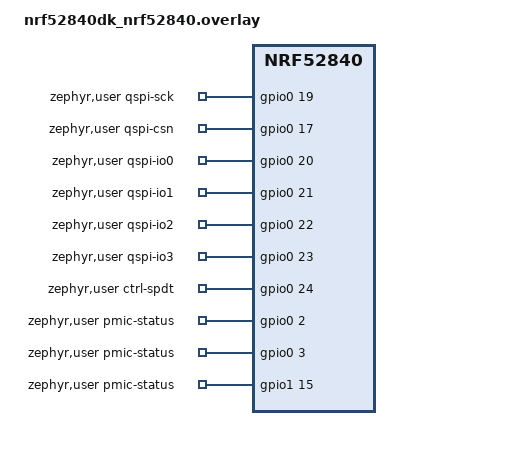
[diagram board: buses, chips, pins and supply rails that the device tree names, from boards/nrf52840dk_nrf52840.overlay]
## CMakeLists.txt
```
cmake_minimum_required(VERSION 3.20)

# for global installs
find_package(Zephyr REQUIRED HINTS $ENV{ZEPHYR_BASE})

# populates the $PROJECT_NAME var and this is what the output files are named
project(capstone)

# app is a predesignated target that zephyr uses
target_sources(app PRIVATE
    src/main.c
    src/qspi_pattern.c
    src/hfxo.c
    src/ble_adv.c
    src/modulator.c
    src/rf_switch.c
    src/switch_ctrl.c
    src/pmic.c
)

target_include_directories(app PRIVATE ${CMAKE_CURRENT_SOURCE_DIR}/src)
```

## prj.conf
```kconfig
# --- Console / logging -------------------------------------------------------
CONFIG_SERIAL=y
CONFIG_CONSOLE=y
CONFIG_UART_CONSOLE=y
CONFIG_LOG=y
# Immediate mode: if a QSPI activation hangs we still want the preceding lines
# out of the UART rather than stuck in a deferred log buffer.
CONFIG_LOG_MODE_IMMEDIATE=y

# --- nrfx drivers driven directly by the application -------------------------
CONFIG_NRFX_QSPI=y

# Keep this on: sensors, SPI cs-gpios, LEDs and GPIO interrupts all need it.
CONFIG_GPIO=y

# QSPI is clocked from HFCLK128M, which is only available with the 32 MHz
# crystal running. qspi_pattern_init() requests it explicitly.
CONFIG_CLOCK_CONTROL=y

CONFIG_MAX30101=y
```

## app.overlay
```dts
&i2c0 {
    status = "okay";

    max30101: max30101@57 {
        compatible = "maxim,max30101";
        reg = <0x57>;
        /* Recent Zephyr versions also require a mode property,
           plus optional LED/slot/sample-rate settings. See step 4. */
    };
};
```

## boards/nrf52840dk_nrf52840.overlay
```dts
/*
 * nRF52840dk overlay for QSPI
 *
 *  QSPI is taken away from Zephyr and given to the application.
 *     Disabling the node removes both the nordic,qspi-nor flash driver and
 *     the mx25r64 child, so nrfx_qspi can own the peripheral outright. The
 *     pins are selected at runtime (see src/qspi_pattern.c) from the
 *     zephyr,user node below.
 *			on the dev kit these are the onboard MX25R6435F's pins, so each
 *			burst also reaches that flash unless it is cut off the bus
 *
 *     CONFIG_NRFX_QSPI only depends on the node *existing*, not on it being
 *     enabled, so disabling it here does not disable the nrfx driver.
 */

/*
 * RF switch pin map, read by src/board_pins.h. These are the wearable PCB's
 * dedicated QSPI pins; the DK is wired the same way.
 *
 * QSPI needs CSN, IO0 and IO1 assigned even though nothing listens to them:
 * CSN and IO0 are driven during every burst, and IO1 is read during
 * activation (see qspi_idle_pulldown_apply()). They are unconnected on the
 * PCB.
 *
 *   P0.19   QSPI SCK   (QSPI_CLK, test point only)
 *   P0.17   QSPI CSN   (unconnected)
 *   P0.20   QSPI IO0   (unconnected)
 *   P0.21   QSPI IO1   (unconnected)
 *   P0.22   QSPI IO2 = Mod_Sel0
 *   P0.23   QSPI IO3 = Mod_Sel1
 *   P0.24   CTRL_SPDT  (high drive, set in rf_switch.c)
 */
/ {
	zephyr,user {
		qspi-sck-gpios = <&gpio0 19 0>;
		qspi-csn-gpios = <&gpio0 17 0>;
		qspi-io0-gpios = <&gpio0 20 0>;
		qspi-io1-gpios = <&gpio0 21 0>;
		qspi-io2-gpios = <&gpio0 22 0>;
		qspi-io3-gpios = <&gpio0 23 0>;
		ctrl-spdt-gpios = <&gpio0 24 0>;

		// AEM30940 STATUS[0], [1], [2], read by src/pmic.c
		pmic-status-gpios = <&gpio0 2 GPIO_ACTIVE_HIGH>,
				    <&gpio0 3 GPIO_ACTIVE_HIGH>,
				    <&gpio1 15 GPIO_ACTIVE_HIGH>;
	};
};

// disable this so I can drive the code directly through nrfx_qspi. sorry Zephyr...
&qspi {
	status = "disabled";
};


// &spi20 {
//     status = "okay";                                  /* Enable the SPI20 peripheral */
//     pinctrl-0 = <&spi20_default>;                      /* Required: default pin config */
//     pinctrl-names = "default";                         /* Only "default" needed if no sleep state */
//     cs-gpios = <&gpio2 5 GPIO_ACTIVE_LOW>;              /* Chip-select via GPIO2 pin 5, active-low */

//     sensor0: sensor@0 {
//         compatible = "vnd,spi-device";                 /* Binds node to a Zephyr driver binding */
//         reg = <0>;                                     /* Chip-select index 0 on this bus */
//         spi-max-frequency = <4000000>;                  /* Cap SPI clock at 4 MHz for this device */
//         label = "SENSOR0";                              /* Runtime name via device_get_binding() */
//     };
// };

/*
 * A child node does not inherit its parent's disabled status, so the flash
 * node has to be turned off by hand. Without this,
 * CONFIG_DT_HAS_NORDIC_QSPI_NOR_ENABLED stays set and simply enabling
 * CONFIG_FLASH later would silently instantiate a driver that fights us for
 * the peripheral
 */
&mx25r64 {
	status = "disabled";
};


// use the nRF52840's internal 32 kHz RC oscillator instead of the external 32.768 kHz crystal
// on newer Zephyr this is set in devicetree, not with CONFIG_CLOCK_CONTROL_NRF_K32SRC_RC
// (500 ppm accuracy is what the binding recommends for RC on nRF52)
&lfclk {
    k32src = "rc";
    k32src-accuracy-ppm = <500>;
};
```

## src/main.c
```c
/*
 * Capstone framework: nRF52840 DK
 *
 * QSPI driven directly by nrfx as a 4-bit-wide pattern generator at the
 * fastest clock the chip has (SCK up to 32 MHz off HFCLK128M), fed with
 * SP4T switch codes from the modulator. The SPDT keeps the antenna on the
 * rectifier except for the duration of each burst.
 *
 * Boots in harvest. Use the shell ("sw" + Tab) to hold
 * a reflect load, run the scope test pattern, or send a real advertising
 * packet; see switch_ctrl.h.
 */

#include <zephyr/kernel.h>
#include <zephyr/logging/log.h>

#include "pmic.h"
#include "switch_ctrl.h"

LOG_MODULE_REGISTER(main, LOG_LEVEL_INF);

/* 10 ms between bursts keeps the scope easy to trigger, and is an ordinary
 * advertising interval for a phone to pick up.
 */
#define BURST_PERIOD_MS 10U

int main(void)
{
	int err;

	err = pmic_init();
	if (err != 0) {
		LOG_ERR("pmic_init failed (%d)", err);
	}

	err = switch_ctrl_init();
	if (err != 0) {
		LOG_ERR("switch_ctrl_init failed (%d)", err);
		return err;
	}

	LOG_INF("SPDT on harvest; \"sw test\" or \"sw adv\" starts bursts "
		"every %u ms", BURST_PERIOD_MS);

	while (true) {
		// -EAGAIN just means a static state is being held
		err = switch_ctrl_burst();
		if (err != 0 && err != -EAGAIN) {
			LOG_ERR("burst failed (%d); back to harvest", err);
			switch_ctrl_harvest();
		}

		k_msleep(BURST_PERIOD_MS);
	}

	return 0;
}
```

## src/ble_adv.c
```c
#include "ble_adv.h"

#include <errno.h>
#include <string.h>

// Fixed access address for all advertising packets
#define ADV_ACCESS_ADDRESS 0x8E89BED6U

// Alternating 0101... whose first bit matches the access address LSB (0)
#define ADV_PREAMBLE 0xAAU

// PDU header byte 0: PDU type ADV_NONCONN_IND (0b0010), TxAdd = 1 (random)
#define ADV_PDU_TYPE_NONCONN_IND 0x02U
#define ADV_PDU_TXADD_RANDOM 0x40U

// The CRC register starts at 0x555555 for every advertising packet
#define ADV_CRC_INIT 0x555555U

/*
 * CRC-24, polynomial x^24 + x^10 + x^9 + x^6 + x^4 + x^3 + x + 1 (0x00065B).
 *
 * Data is fed in air order (LSB of each byte first), so the register is kept
 * bit-reversed: bit 0 here is the spec's position 23. That makes the result
 * come out ready to send LSB first which puts the spec's MSB on air first.
 */
static uint32_t crc24(const uint8_t *data, size_t len)
{
	// 0x555555 is 0xAAAAAA reversed (written this way to match the spec)
	uint32_t state = 0;

	for (unsigned int i = 0; i < 24U; i++) {
		if (ADV_CRC_INIT & (1U << i)) {
			state |= 1U << (23U - i);
		}
	}

	for (size_t i = 0; i < len; i++) {
		uint8_t byte = data[i];

		for (unsigned int j = 0; j < 8U; j++) {
			unsigned int fb = (state ^ byte) & 1U;

			byte >>= 1;
			state >>= 1;
			if (fb) {
				state ^= 0xDA6000U;
			}
		}
	}

	return state;
}

/*
 * Data whitening, polynomial x^7 + x^4 + 1. The spec seeds position 0 with 1
 * and positions 1..6 with the channel index, MSB at position 1. Here bit 6
 * is position 0 and bit 0 is position 6 (the output tap), so the seed is just
 * the channel index with bit 6 set.
 */
static void whiten(uint8_t *data, size_t len, uint8_t channel)
{
	uint8_t lfsr = (uint8_t)(channel | 0x40U);

	for (size_t i = 0; i < len; i++) {
		for (uint8_t m = 1U; m != 0U; m <<= 1) {
			if (lfsr & 0x01U) {
				lfsr ^= 0x88U;
				data[i] ^= m;
			}
			lfsr >>= 1;
		}
	}
}

int ble_adv_build(const uint8_t adv_addr[BLE_ADDR_LEN],
		  const uint8_t *adv_data, size_t adv_data_len,
		  uint8_t channel, uint8_t *out, size_t out_size)
{
	size_t pdu_len = 2U + BLE_ADDR_LEN + adv_data_len;
	size_t total = 1U + 4U + pdu_len + 3U;
	uint8_t *pdu = &out[5];
	uint32_t crc;
	size_t n = 0;

	if (channel < BLE_ADV_CHANNEL_37 || channel > BLE_ADV_CHANNEL_39 ||
	    adv_data_len > BLE_ADV_DATA_MAX ||
	    (adv_data_len > 0U && adv_data == NULL) || out_size < total) {
		return -EINVAL;
	}

	out[n++] = ADV_PREAMBLE;

	// Access address goes out least significant byte first
	for (unsigned int i = 0; i < 4U; i++) {
		out[n++] = (uint8_t)(ADV_ACCESS_ADDRESS >> (8U * i));
	}

	out[n++] = ADV_PDU_TYPE_NONCONN_IND | ADV_PDU_TXADD_RANDOM;
	out[n++] = (uint8_t)(BLE_ADDR_LEN + adv_data_len);

	memcpy(&out[n], adv_addr, BLE_ADDR_LEN);
	n += BLE_ADDR_LEN;

	if (adv_data_len > 0U) {
		memcpy(&out[n], adv_data, adv_data_len);
		n += adv_data_len;
	}

	crc = crc24(pdu, pdu_len);
	out[n++] = (uint8_t)crc;
	out[n++] = (uint8_t)(crc >> 8);
	out[n++] = (uint8_t)(crc >> 16);

	// Whitening covers the PDU and CRC, not the preamble or access address
	whiten(pdu, pdu_len + 3U, channel);

	return (int)n;
}

int ble_adv_hr_data(uint8_t bpm, uint8_t *out, size_t out_size)
{
	static const uint8_t name[] = { 'C', 'A', 'P', 'S', 'T', 'O' };
	size_t n = 0;

	if (out_size < 3U + (2U + sizeof(name)) + 6U) {
		return -EINVAL;
	}

	// Flags: LE General Discoverable, BR/EDR not supported
	out[n++] = 0x02;
	out[n++] = 0x01;
	out[n++] = 0x06;

	// Local Name
	out[n++] = (uint8_t)(1U + sizeof(name));
	out[n++] = 0x09;
	memcpy(&out[n], name, sizeof(name));
	n += sizeof(name);

	// Service Data, 16-bit UUID 0x180D (Heart Rate) little-endian
	out[n++] = 0x05;
	out[n++] = 0x16;
	out[n++] = 0x0D;
	out[n++] = 0x18;
	out[n++] = 0x00; // Heart Rate Measurement flags: uint8 BPM follows
	out[n++] = bpm;

	return (int)n;
}
```

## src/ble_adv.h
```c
/*
 * BLE advertising packet builder (LE 1M, legacy advertising).
 *
 * Produces the exact byte stream that goes on air
 * (ready for modulator.c)
 *
 *   preamble | access address | PDU header | AdvA | AdvData | CRC
 *     1 B          4 B             2 B        6 B   0-31 B    3 B
 *                            '---------- whitened ---------------'
 *
 * Bytes are in transmit order and each byte goes out LSB first
 * (Spec required)
 *
 * The PDU is ADV_NONCONN_IND: broadcast only, so the tag never has to
 * receive anything (because we can't receive anything on our pcb)
 *
 * no Zephyr dependencies in this file
 */

#ifndef BLE_ADV_H_
#define BLE_ADV_H_

#include <stddef.h>
#include <stdint.h>

// Advertising channel index so we can test multiple 
#define BLE_ADV_CHANNEL_37 37U // 2402 MHz
#define BLE_ADV_CHANNEL_38 38U // 2426 MHz
#define BLE_ADV_CHANNEL_39 39U // 2480 MHz

// Longest AdvData a legacy advertising PDU can carry 
// Legacy advertising = broadcaster can announce presence and send data
#define BLE_ADV_DATA_MAX 31U

// Preamble + access address + header + AdvA + max AdvData + CRC
#define BLE_ADV_PACKET_MAX (1U + 4U + 2U + 6U + BLE_ADV_DATA_MAX + 3U)

// Bytes in a BLE device address
#define BLE_ADDR_LEN 6U

/**
 * Build a whitened ADV_NONCONN_IND packet
 *
 * @param adv_addr     Advertiser address, least significant byte first
 *                     (the order it goes on air). Treated as a random
 *                     address, so a static one needs the top two bits of
 *                     adv_addr[5] set.
 * @param adv_data     AD structures (length, type, data...), or NULL if
 *                     @p adv_data_len is 0.
 * @param adv_data_len 0..BLE_ADV_DATA_MAX bytes.
 * @param channel      Advertising channel index the packet will be received
 *                     on (37, 38 or 39). Whitening depends on it, so a packet
 *                     built for one channel will not decode on another.
 * @param out          Output buffer.
 * @param out_size     Size of @p out; BLE_ADV_PACKET_MAX always suffices.
 *
 * @return Packet length in bytes (multiply by 8 for modulator_build()), or
 *         -EINVAL for a bad channel, oversized AdvData or a short buffer.
 */
int ble_adv_build(const uint8_t adv_addr[BLE_ADDR_LEN],
		  const uint8_t *adv_data, size_t adv_data_len,
		  uint8_t channel, uint8_t *out, size_t out_size);

/**
 * Fill in the AdvData for a heart-rate reading:
 *
 *   Flags                 02 01 06
 *   Complete Local Name   07 09 'B' 'E' 'A' 'C' 'O' 'N'
 *   Service Data (0x180D) 05 16 0D 18 00 <bpm>
 *
 * The service data payload follows the Heart Rate Measurement layout (a flags
 * byte of 0x00, meaning a uint8 BPM follows), so it reads naturally in tools
 * like nRF Connect. The name makes the tag easy to spot in a scan list.
 *
 * @return Number of AdvData bytes written, or -EINVAL if @p out_size is too
 *         small.
 */
int ble_adv_hr_data(uint8_t bpm, uint8_t *out, size_t out_size);

#endif /* BLE_ADV_H_ */
```

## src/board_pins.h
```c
/*
 * Pin map for the RF switch path.
 *
 * The QSPI block drives the SP4T (Mod_Sel0/1 on IO2/IO3) and a GPIO drives
 * the SPDT that chooses between the rectifier and the SP4T. The pins come
 * from the zephyr,user node in the board overlay
 * (boards/nrf52840dk_nrf52840.overlay); see the pin table there.
 */

#ifndef BOARD_PINS_H_
#define BOARD_PINS_H_

#include <zephyr/devicetree.h>
#include <soc_nrf_common.h>
#include <hal/nrf_gpio.h>

#define BOARD_PINS_NODE DT_PATH(zephyr_user)

#define PIN_QSPI_SCK NRF_DT_GPIOS_TO_PSEL(BOARD_PINS_NODE, qspi_sck_gpios)
#define PIN_QSPI_CSN NRF_DT_GPIOS_TO_PSEL(BOARD_PINS_NODE, qspi_csn_gpios)
#define PIN_QSPI_IO0 NRF_DT_GPIOS_TO_PSEL(BOARD_PINS_NODE, qspi_io0_gpios)
#define PIN_QSPI_IO1 NRF_DT_GPIOS_TO_PSEL(BOARD_PINS_NODE, qspi_io1_gpios)
#define PIN_QSPI_IO2 NRF_DT_GPIOS_TO_PSEL(BOARD_PINS_NODE, qspi_io2_gpios)
#define PIN_QSPI_IO3 NRF_DT_GPIOS_TO_PSEL(BOARD_PINS_NODE, qspi_io3_gpios)
#define PIN_CTRL_SPDT NRF_DT_GPIOS_TO_PSEL(BOARD_PINS_NODE, ctrl_spdt_gpios)

/*
 * CTRL_SPDT level that connects the antenna to the rectifier.
 *
 * PROVISIONAL: confirm with the EEs. Low is the safer guess either way,
 * since an unpowered or reset MCU leaves the pin low.
 */
#define SPDT_HARVEST_LEVEL 0U

#endif /* BOARD_PINS_H_ */
```

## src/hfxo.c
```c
#include "hfxo.h"

#include <zephyr/kernel.h>
#include <zephyr/device.h>
#include <zephyr/logging/log.h>
#include <zephyr/drivers/clock_control.h>

LOG_MODULE_REGISTER(hfxo, LOG_LEVEL_INF);

int hfxo_request(void)
{
	/* Each clock is its own clock-control device in current Zephyr. The
	 * older CLOCK_CONTROL_NRF_SUBSYS_HF enumerator on the parent "clock"
	 * node is deprecated and not compiled in on this tree.
	 */
	const struct device *clk = DEVICE_DT_GET(DT_NODELABEL(hfclk));
	int err;

	if (!device_is_ready(clk)) {
		LOG_ERR("hfclk device not ready");
		return -ENODEV;
	}

	/* clock_control_on() resolves to common_api_blocking_start() for this
	 * driver, so it returns only once the crystal has actually started.
	 */
	err = clock_control_on(clk, NULL);
	if (err == -EALREADY || err == -EINPROGRESS) {
		return 0;
	}

	if (err != 0) {
		LOG_ERR("HFXO request failed (%d)", err);
		return err;
	}

	LOG_INF("HFXO running; HFCLK is now crystal-accurate");

	return 0;
}
```

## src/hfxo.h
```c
/*
 * HFCLK source control.
 *
 * On reset the nRF52840 runs HFCLK from HFINT, an internal RC oscillator
 * accurate to only a few percent. Everything clocked from HFCLK inherits that
 * error -- TIMER's 16 MHz base, UARTE's baud rate.
 *
 * Nothing starts the 32 MHz crystal on its own here: Zephyr's system clock
 * runs off LFCLK/RTC, and no driver in this application sets
 * CONFIG_UART_NRFX_UARTE_HFXO_ON_ACTIVE. So any module whose *output
 * frequency* matters has to ask for the crystal itself.
 *
 * Requests are reference counted, so every such module should call this
 * rather than assume some other module already did.
 */

#ifndef HFXO_H_
#define HFXO_H_

/**
 * Start the 32 MHz crystal oscillator, or join an existing request, and block
 * until it is actually running (~300-400 us from cold).
 *
 * @return 0 on success, negative errno otherwise.
 */
int hfxo_request(void);

#endif /* HFXO_H_ */
```

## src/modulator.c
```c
#include "modulator.h"

#include <errno.h>

// Indexed by rotation state: 0 -> 90 -> 180 -> 270 degrees
static const uint8_t phase_codes[4] = {
	MOD_CODE_PHASE_0,
	MOD_CODE_PHASE_90,
	MOD_CODE_PHASE_180,
	MOD_CODE_PHASE_270,
};

/*
 * The phase accumulator counts one full rotation as 2^32, so it wraps by
 * itself. Each tick advances it by f / SCK of a turn.
 */
#define PHASE_INC(f_hz) ((uint32_t)(((uint64_t)(f_hz) << 32) / MOD_SCK_HZ))

#define PHASE_INC_ONE PHASE_INC(MOD_SHIFT_HZ + MOD_DEVIATION_HZ)
#define PHASE_INC_ZERO PHASE_INC(MOD_SHIFT_HZ - MOD_DEVIATION_HZ)

// Each of the four states covers 2^30; adding half of that rounds to nearest
#define PHASE_HALF_STATE (1UL << 29)

// Nibbles are packed two per byte, high nibble first (it goes out first)
static void put_nibble(uint8_t *out, size_t n, uint8_t code)
{
	uint8_t nib = (uint8_t)(code << MOD_CODE_SHIFT) & 0x0FU;

	if ((n & 1U) == 0U) {
		out[n / 2U] = (uint8_t)(nib << 4);
	} else {
		out[n / 2U] |= nib;
	}
}

static size_t total_ticks(size_t nbits)
{
	size_t ticks = MOD_LEAD_IN_TICKS + nbits * MOD_TICKS_PER_BIT +
		       MOD_LEAD_OUT_TICKS;

	// 8 nibbles = 4 bytes
	return (ticks + 7U) & ~(size_t)7U;
}

size_t modulator_out_size(size_t nbits)
{
	return total_ticks(nbits) / 2U;
}

int modulator_build(const uint8_t *bits, size_t nbits,
		    uint8_t *out, size_t out_size)
{
	size_t total;
	size_t n = 0;
	uint32_t phase = 0;

	if (nbits == 0U || out_size < modulator_out_size(nbits)) {
		return -EINVAL;
	}

	total = total_ticks(nbits);

	while (n < MOD_LEAD_IN_TICKS) {
		put_nibble(out, n++, MOD_CODE_IDLE);
	}

	for (size_t i = 0; i < nbits; i++) {
		unsigned int bit = (bits[i / 8U] >> (i % 8U)) & 1U;
		uint32_t inc = bit ? PHASE_INC_ONE : PHASE_INC_ZERO;

		for (unsigned int t = 0; t < MOD_TICKS_PER_BIT; t++) {
			unsigned int state = ((phase + PHASE_HALF_STATE) >> 30) & 3U;

			put_nibble(out, n++, phase_codes[state]);
			phase += inc;
		}
	}

	while (n < total) {
		put_nibble(out, n++, MOD_CODE_IDLE);
	}

	return (int)(total / 2U);
}
```

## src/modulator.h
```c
/*
 * Bitstream -> SP4T switch-code sequence for SSB backscatter.
 *
 * The tag cannot make RF; it can only pick which of four reflect loads
 * (0, 90, 180, 270 degrees) the antenna sees. Stepping 0 -> 90 -> 180 -> 270
 * -> 0 rotates the phase of the reflected carrier, which shifts it up in
 * frequency by however fast the rotation goes. BLE's GFSK is then just
 * "rotate a bit faster" for a 1 and "a bit slower" for a 0:
 *
 *   bit 1: 2.400 + 0.250 = 2.650 MHz
 *   bit 0: 2.400 - 0.250 = 2.150 MHz
 *
 * With the receiver on channel 38 (2426 MHz) the carrier has to sit at
 * 2423.6 MHz.
 *
 * One tick is one QSPI SCK clock, i.e. one nibble on IO0..IO3. With four
 * states, whole-tick state lengths can't hit those rates (3 and 4 ticks give
 * +/-333 kHz, outside BLE's +/-225..275 kHz), so a phase accumulator tracks
 * where the rotation should be and each tick picks the nearest load. States
 * last 3 or 4 ticks and average out to the exact frequency.
 *
 * This file has no Zephyr dependencies so it can be compiled and tested on a
 * host as-is.
 */

#ifndef MODULATOR_H_
#define MODULATOR_H_

#include <stddef.h>
#include <stdint.h>

/** QSPI SCK frequency the tables are built for (NRF_QSPI_FREQ_DIV1). */
#define MOD_SCK_HZ 32000000U

/** QSPI SCK clocks per 1 us BLE bit. */
#define MOD_TICKS_PER_BIT 32U

/** Frequency shift of the reflected signal and BLE's GFSK deviation. */
#define MOD_SHIFT_HZ 2400000U
#define MOD_DEVIATION_HZ 250000U

/*
 * SP4T control codes (Mod_Sel1:Mod_Sel0), in rotation order. Gray-code
 * order means every step -- including 270 -> 0 -- changes exactly one
 * control line, so the switch never passes through a wrong load mid-step.
 *
 * PROVISIONAL: the code-to-load mapping is set by how the PCB wires the
 * loads to the SP4T ports. Confirm with the EEs; ideally the board follows
 * this order.
 */
#define MOD_CODE_PHASE_0 0x0U
#define MOD_CODE_PHASE_90 0x1U
#define MOD_CODE_PHASE_180 0x3U
#define MOD_CODE_PHASE_270 0x2U

/*
 * Code held before the first bit and after the last. The rectifier/SP4T
 * choice is made by the SPDT, so this only needs to be a steady load.
 */
#define MOD_CODE_IDLE MOD_CODE_PHASE_0

/*
 * Bit position of Mod_Sel0 inside the nibble. Each nibble drives IO3..IO0
 * (bit 3 on IO3), so a shift of 2 puts Mod_Sel0 on IO2 and Mod_Sel1 on IO3.
 * IO0 carries the QSPI opcode and IO1 is an input during the single-line
 * phases, so neither is usable for the switch.
 *
 * PROVISIONAL: assumes high-nibble-first, which is still unconfirmed.
 */
#define MOD_CODE_SHIFT 2U

/** Idle-code nibbles emitted before the first bit. */
#define MOD_LEAD_IN_TICKS 8U

/**
 * Minimum idle-code nibbles emitted after the last bit. More are added as
 * needed, because nrfx_qspi_write() requires a length that is a multiple of
 * 4 bytes.
 */
#define MOD_LEAD_OUT_TICKS 8U

/**
 * Output buffer size in bytes that modulator_build() needs for @p nbits bits:
 * about 16 bytes per bit (a full 376-bit advertising packet is ~6 KB).
 */
size_t modulator_out_size(size_t nbits);

/**
 * Turn a bitstream into a QSPI-ready switch-code buffer.
 *
 * @p bits is read in BLE on-air order: bit 0 of bits[0] goes out first, then
 * bit 1 of bits[0], and so on (LSB first within each byte). Phase runs
 * continuously across bit boundaries; only the rotation rate changes.
 *
 * The output starts and ends on MOD_CODE_IDLE and is padded to a multiple of
 * 4 bytes, so it can be handed straight to qspi_pattern_burst().
 *
 * @param bits     Packed bitstream.
 * @param nbits    Number of bits to send.
 * @param out      Output buffer, at least modulator_out_size(nbits) bytes.
 * @param out_size Size of @p out in bytes.
 *
 * @return Number of bytes written, or -EINVAL if @p nbits is 0 or @p out is
 *         too small.
 */
int modulator_build(const uint8_t *bits, size_t nbits,
		    uint8_t *out, size_t out_size);

#endif /* MODULATOR_H_ */
```

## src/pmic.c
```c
#include "pmic.h"

#include <errno.h>

#include <zephyr/drivers/gpio.h>
#include <zephyr/shell/shell.h>

// STATUS[0..2], from the zephyr,user node in the board overlay
static const struct gpio_dt_spec status_pins[] = {
	GPIO_DT_SPEC_GET_BY_IDX(DT_PATH(zephyr_user), pmic_status_gpios, 0),
	GPIO_DT_SPEC_GET_BY_IDX(DT_PATH(zephyr_user), pmic_status_gpios, 1),
	GPIO_DT_SPEC_GET_BY_IDX(DT_PATH(zephyr_user), pmic_status_gpios, 2),
};

int pmic_init(void)
{
	for (size_t i = 0; i < ARRAY_SIZE(status_pins); i++) {
		int err = gpio_pin_configure_dt(&status_pins[i], GPIO_INPUT);

		if (err != 0) {
			return err;
		}
	}

	return 0;
}

static int cmd_pmic(const struct shell *sh, size_t argc, char **argv)
{
	ARG_UNUSED(argc);
	ARG_UNUSED(argv);

	shell_print(sh, "STATUS[0] LDOs ready:   %d", gpio_pin_get_dt(&status_pins[0]));
	shell_print(sh, "STATUS[1] battery low:  %d", gpio_pin_get_dt(&status_pins[1]));
	shell_print(sh, "STATUS[2] MPP eval:     %d", gpio_pin_get_dt(&status_pins[2]));

	return 0;
}

SHELL_CMD_REGISTER(pmic, NULL, "Read the AEM30940 status pins", cmd_pmic);
```

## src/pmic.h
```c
/*
 * AEM30940 harvester status pins. The chip has no registers; it reports
 * on three logic outputs:
 *
 *   STATUS[0]  P0.02  LDOs ready (normal mode)
 *   STATUS[1]  P0.03  battery low: shutdown in ~600 ms
 *   STATUS[2]  P1.15  MPP evaluation (short pulse every ~0.33 s)
 *
 * Shell: "pmic" prints all three.
 */

#ifndef PMIC_H_
#define PMIC_H_

/** Configure the status pins as inputs. */
int pmic_init(void);

#endif /* PMIC_H_ */
```

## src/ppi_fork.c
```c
#include "ppi_fork.h"

#include <zephyr/kernel.h>
#include <zephyr/logging/log.h>

#include <nrfx_gpiote.h>
#include <nrfx_timer.h>
#include <helpers/nrfx_gppi.h>
#include <hal/nrf_gpio.h>

#include "hfxo.h"

LOG_MODULE_REGISTER(ppi_fork, LOG_LEVEL_INF);

/*
 *   		    Port    Role
 *   -------   ----    ----
 *   D8        P1.10   primary  (PPI channel TEP)
 *   D9        P1.11   fork     (PPI channel FORK.TEP)
 *
 * The two pins are given opposite initial states so the scope shows a
 * complementary pair (which also makes it obvious that both edges land on
 * the same clock rather than one lagging the other when we're testing)
 */
#define PIN_PRIMARY NRF_GPIO_PIN_MAP(1, 10)
#define PIN_FORK    NRF_GPIO_PIN_MAP(1, 11)

/* TIMER2: TIMER0 belongs to the Bluetooth controller if one is ever linked in,
 * and TIMER1 is a common default for other subsystems. (use timer 2 to be safe)
 */
static nrfx_timer_t timer = NRFX_TIMER_INSTANCE(NRF_TIMER2);

/* The nRF52840 has a single GPIOTE instance. CONFIG_GPIO is off so nothing
 * else is allocating out of it.
 */
static nrfx_gpiote_t gpiote = NRFX_GPIOTE_INSTANCE(NRF_GPIOTE);

static nrfx_gppi_handle_t gppi_h;
static uint8_t ch_primary;
static uint8_t ch_fork;
static bool running;

static int out_pin_configure(nrfx_gpiote_pin_t pin, uint8_t channel,
			     nrf_gpiote_outinit_t init_val)
{
	static const nrfx_gpiote_output_config_t output_config = {
		/* H0H1 keeps the edges clean at MHz rates into a scope probe. */
		// higher current for a cleaner edge (if there is overshoot change this)
		.drive = NRF_GPIO_PIN_H0H1,
		// the GPIOs are output only
		.input_connect = NRF_GPIO_PIN_INPUT_DISCONNECT,
		// already driven
		.pull = NRF_GPIO_PIN_NOPULL,
	};

	const nrfx_gpiote_task_config_t task_config = {
		// select channel from the 8 available
		.task_ch = channel,
		// determines what TASKS_OUT does
		.polarity = NRF_GPIOTE_POLARITY_TOGGLE,
		// initial gpio value
		.init_val = init_val,
	};

	// writes one register per pin allowing GPIOTE to drive
	return nrfx_gpiote_output_configure(&gpiote, pin, &output_config, &task_config);
}

int ppi_fork_start(uint32_t toggle_hz)
{
	uint32_t base_frequency;
	uint32_t ticks;
	int err;

	if (running) {
		return -EALREADY;
	}

	if (toggle_hz == 0U) {
		return -EINVAL;
	}

	/* TIMER's 16 MHz base comes from HFCLK; without the crystal the output
	 * inherits the RC oscillator's few-percent error (1 MHz read 970 kHz).
	 */
	err = hfxo_request();
	if (err != 0) {
		return err;
	}

	if (!nrfx_gpiote_init_check(&gpiote)) {
		err = nrfx_gpiote_init(&gpiote, NRFX_GPIOTE_DEFAULT_CONFIG_IRQ_PRIORITY);
		if (err != 0) {
			LOG_ERR("nrfx_gpiote_init failed (%d)", err);
			return err;
		}
	}

	// claim the channels
	err = nrfx_gpiote_channel_alloc(&gpiote, &ch_primary);
	if (err != 0) {
		LOG_ERR("no GPIOTE channel for the primary pin (%d)", err);
		return err;
	}

	// claim the channels
	err = nrfx_gpiote_channel_alloc(&gpiote, &ch_fork);
	if (err != 0) {
		LOG_ERR("no GPIOTE channel for the fork pin (%d)", err);
		goto free_primary_ch;
	}

	// bind pins
	err = out_pin_configure(PIN_PRIMARY, ch_primary, NRF_GPIOTE_INITIAL_VALUE_HIGH);
	if (err != 0) {
		LOG_ERR("primary pin configure failed (%d)", err);
		goto free_fork_ch;
	}

	err = out_pin_configure(PIN_FORK, ch_fork, NRF_GPIOTE_INITIAL_VALUE_LOW);
	if (err != 0) {
		LOG_ERR("fork pin configure failed (%d)", err);
		goto free_fork_ch;
	}

	// arms the tasks so TASKS_OUT[ch] @ 0x40006000 + 4ch becomes live 
	// writing 1 here toggles the pin
	nrfx_gpiote_out_task_enable(&gpiote, PIN_PRIMARY);
	nrfx_gpiote_out_task_enable(&gpiote, PIN_FORK);


	// set up the timer
	// MODE      @ 0x4000A504  = Timer     (count PCLK16M, not external pulses)
	// BITMODE   @ 0x4000A508  = 32-bit
	// PRESCALER @ 0x4000A510  = 0         (16 MHz / 2^0)
	// CC[0]     @ 0x4000A540  = ticks
	// SHORTS    @ 0x4000A200  = COMPARE0_CLEAR
	base_frequency = NRF_TIMER_BASE_FREQUENCY_GET(timer.p_reg);  //16 MHz

	// prescaler is 0 so full 16 MHz no division
	nrfx_timer_config_t timer_config = NRFX_TIMER_DEFAULT_CONFIG(base_frequency);

	timer_config.bit_width = NRF_TIMER_BIT_WIDTH_32;

	/* NULL handler: the timer never raises an interrupt. The whole point of
	 * the exercise is that the CPU is not involved once this is armed.
	 */
	err = nrfx_timer_init(&timer, &timer_config, NULL);
	if (err != 0) {
		LOG_ERR("nrfx_timer_init failed (%d)", err);
		goto disable_tasks;
	}

	nrfx_timer_clear(&timer);

	/* Two compare events per output period, since each one toggles. */
	// one output period costs two events
	ticks = base_frequency / (2U * toggle_hz);
	if (ticks < 2U) {
		ticks = 2U;
	}

	/* COMPARE0_CLEAR turns CC0 into a free-running period; enable_int is
	 * false so no NVIC line is ever asserted. (INTENSET is never written)
	 */
	nrfx_timer_extended_compare(&timer, NRF_TIMER_CC_CHANNEL0, ticks,
				    NRF_TIMER_SHORT_COMPARE0_CLEAR_MASK, false);

	/* EEP = TIMER2 COMPARE[0], TEP = GPIOTE OUT task for the primary pin. */
	err = nrfx_gppi_conn_alloc(
		nrfx_timer_compare_event_address_get(&timer, NRF_TIMER_CC_CHANNEL0),
		nrfx_gpiote_out_task_address_get(&gpiote, PIN_PRIMARY),
		&gppi_h);
	if (err != 0) {
		LOG_ERR("no PPI channel available (%d)", err);
		goto uninit_timer;
	}

	/* Second task endpoint on the same channel. On PPI hardware nrfx puts
	 * this in FORK.TEP because TEP is already taken; on DPPI parts the same
	 * call just subscribes another task to the channel. That is the whole
	 * reason for going through nrfx_gppi rather than nrf_ppi directly.
	 */
	err = nrfx_gppi_ep_attach(nrfx_gpiote_out_task_address_get(&gpiote, PIN_FORK), gppi_h);
	if (err != 0) {
		LOG_ERR("fork endpoint attach failed (%d)", err);
		goto free_conn;
	}

	nrfx_gppi_conn_enable(gppi_h);
	nrfx_timer_enable(&timer);

	running = true;

	LOG_INF("PPI fork running: P1.10 and P1.11 toggling at %u Hz "
		"(TIMER2 %u Hz, CC0 = %u ticks), CPU idle",
		base_frequency / (2U * ticks), base_frequency, ticks);

	return 0;

free_conn:
	nrfx_gppi_conn_free(
		nrfx_timer_compare_event_address_get(&timer, NRF_TIMER_CC_CHANNEL0),
		nrfx_gpiote_out_task_address_get(&gpiote, PIN_PRIMARY),
		gppi_h);
uninit_timer:
	nrfx_timer_uninit(&timer);
disable_tasks:
	nrfx_gpiote_out_task_disable(&gpiote, PIN_PRIMARY);
	nrfx_gpiote_out_task_disable(&gpiote, PIN_FORK);
	(void)nrfx_gpiote_pin_uninit(&gpiote, PIN_PRIMARY);
	(void)nrfx_gpiote_pin_uninit(&gpiote, PIN_FORK);
free_fork_ch:
	(void)nrfx_gpiote_channel_free(&gpiote, ch_fork);
free_primary_ch:
	(void)nrfx_gpiote_channel_free(&gpiote, ch_primary);

	return err;
}

void ppi_fork_stop(void)
{
	if (!running) {
		return;
	}

	nrfx_timer_disable(&timer);
	nrfx_gppi_conn_disable(gppi_h);
	nrfx_gppi_conn_free(
		nrfx_timer_compare_event_address_get(&timer, NRF_TIMER_CC_CHANNEL0),
		nrfx_gpiote_out_task_address_get(&gpiote, PIN_PRIMARY),
		gppi_h);
	nrfx_timer_uninit(&timer);

	nrfx_gpiote_out_task_disable(&gpiote, PIN_PRIMARY);
	nrfx_gpiote_out_task_disable(&gpiote, PIN_FORK);
	(void)nrfx_gpiote_pin_uninit(&gpiote, PIN_PRIMARY);
	(void)nrfx_gpiote_pin_uninit(&gpiote, PIN_FORK);
	(void)nrfx_gpiote_channel_free(&gpiote, ch_fork);
	(void)nrfx_gpiote_channel_free(&gpiote, ch_primary);

	running = false;
}
```

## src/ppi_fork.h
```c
/*
 * One TIMER event -> PPI channel + its fork -> two GPIOTE tasks.
 *
 * A PPI channel on the nRF52 series has three endpoint registers: EEP (the
 * event), TEP (the task) and FORK.TEP (a second task). Both task endpoints
 * fire from the same event in the same clock cycle, so the two pins transition
 * together with no software in the path at all -- no interrupt, no jitter, and
 * it keeps running while the CPU is busy or asleep.
 */

#ifndef PPI_FORK_H_
#define PPI_FORK_H_

#include <stdint.h>

/**
 * Start toggling both pins at @p toggle_hz.
 *
 * The TIMER runs at 16 MHz and each compare event toggles the pins, so one
 * output period costs two events and the ceiling is 4 MHz (ticks >= 2).
 *
 * @return 0 on success, negative errno otherwise.
 */
int ppi_fork_start(uint32_t toggle_hz);

/** Stop the timer and release the PPI channel and both GPIOTE channels. */
void ppi_fork_stop(void);

#endif /* PPI_FORK_H_ */
```

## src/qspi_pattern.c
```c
#include "qspi_pattern.h"

#include <string.h>

#include <zephyr/kernel.h>
#include <zephyr/logging/log.h>

#include <nrfx_qspi.h>
#include <hal/nrf_gpio.h>

#include "board_pins.h"
#include "hfxo.h"

LOG_MODULE_REGISTER(qspi_pattern, LOG_LEVEL_INF);

// Pin map comes from the board overlay via board_pins.h
#define QSPI_PIN_SCK PIN_QSPI_SCK
#define QSPI_PIN_CSN PIN_QSPI_CSN
#define QSPI_PIN_IO0 PIN_QSPI_IO0
#define QSPI_PIN_IO1 PIN_QSPI_IO1
#define QSPI_PIN_IO2 PIN_QSPI_IO2
#define QSPI_PIN_IO3 PIN_QSPI_IO3

/* The peripheral polls the (nonexistent) memory during ACTIVATE. Fail fast
 * instead of sitting in nrfx's wait loop for half a second.
 */
#define QSPI_ACTIVATE_TIMEOUT_MS 20

/* QSPI DMA reads the source through the EasyDMA port: the buffer has to live
 * in Data RAM and be word-aligned.
 */
static uint8_t pattern_buf[QSPI_PATTERN_MAX_BURST] __aligned(4);

static bool initialised;

uint32_t qspi_pattern_sck_hz(nrf_qspi_frequency_t sck_div)
{
	/* SCK is derived from a fixed 32 MHz source: SCK = 32 MHz / (DIV + 1),
	 * where the enum value is the divider minus one.
	 */
	return 32000000U / ((uint32_t)sck_div + 1U);
}

static void qspi_config_fill(nrfx_qspi_config_t *cfg, nrf_qspi_frequency_t sck_div)
{
	*cfg = (nrfx_qspi_config_t)NRFX_QSPI_DEFAULT_CONFIG(
		QSPI_PIN_SCK, QSPI_PIN_CSN,
		QSPI_PIN_IO0, QSPI_PIN_IO1,
		QSPI_PIN_IO2, QSPI_PIN_IO3);

	/* PP4IO (opcode 0x38): the opcode goes out on IO0 alone, then address
	 * and payload are shifted four bits per clock across IO0..IO3. That is
	 * what makes this a 4-bit-wide pattern generator rather than a serial
	 * one.
	 */
	cfg->prot_if.writeoc = NRF_QSPI_WRITEOC_PP4IO;
	cfg->prot_if.readoc = NRF_QSPI_READOC_READ4IO;
	cfg->prot_if.addrmode = NRF_QSPI_ADDRMODE_24BIT;

	cfg->phy_if.sck_freq = sck_div;
	cfg->phy_if.spi_mode = NRF_QSPI_MODE_0;
	/* Minimum CSN-to-SCK dead time; nothing on the bus needs setup time. */
	cfg->phy_if.sck_delay = 0;

	cfg->timeout = QSPI_ACTIVATE_TIMEOUT_MS;
}

/*
 * nrfx configures every QSPI pin with NRF_GPIO_PIN_NOPULL. That is correct
 * with a real memory attached, but here nothing drives IO1. During ACTIVATE
 * the peripheral issues a status-register read and waits for the memory's
 * WIP bit to clear; a floating IO1 that settles high reads WIP=1 forever and
 * activation returns -ETIMEDOUT. Pulling IO1 down makes the status byte read
 * back 0x00, so activation completes.
 *
 * The pull is applied after nrfx_qspi_init() because init overwrites PIN_CNF.
 * (Strapping IO1 to GND has the same effect in hardware.)
 * 
 * Basically there's no external flash pulling this line down saying "hey
 * Im ready" so were configuring it so that it constantly reads as "ready"
 */
static void qspi_idle_pulldown_apply(void)
{
	nrf_gpio_cfg(QSPI_PIN_IO1,
		     NRF_GPIO_PIN_DIR_INPUT,
		     NRF_GPIO_PIN_INPUT_DISCONNECT,
		     NRF_GPIO_PIN_PULLDOWN,
		     NRF_GPIO_PIN_H0H1,
		     NRF_GPIO_PIN_NOSENSE);
}

int qspi_pattern_init(nrf_qspi_frequency_t sck_div)
{
	nrfx_qspi_config_t cfg;
	int err;

	if (initialised) {
		return qspi_pattern_set_freq(sck_div);
	}

	/* QSPI is clocked from HFCLK128M; without the crystal its SCK would
	 * inherit the RC oscillator's few-percent error.
	 */
	err = hfxo_request();
	if (err != 0) {
		return err;
	}

	qspi_config_fill(&cfg, sck_div);

	// writes settings into the QSPI hardware registers and sets the pins up  w/ high drive no pull
	err = nrfx_qspi_init(&cfg, NULL /* blocking mode */, NULL);
	if (err != 0 && err != -EALREADY) {
		LOG_ERR("nrfx_qspi_init failed (%d)", err);
		return err;
	}

	qspi_idle_pulldown_apply();

	// sends "read status register 0x05" adnd listens on I01 (configured to mock flash chip response)
	// with I01 forver pulled down it should always read "ready" and activation succeeds
	err = nrfx_qspi_activate(true);
	if (err != 0 && err != -EALREADY) {
		LOG_ERR("nrfx_qspi_activate failed (%d)", err);
		if (err == -ETIMEDOUT) {
			LOG_ERR("  ACTIVATE polls a status register that nothing "
				"answers. Try strapping IO1 to GND.");
		}
		nrfx_qspi_uninit();
		return err;
	}

	initialised = true;

	LOG_INF("QSPI pattern generator up: SCK %u Hz on P%u.%02u, "
		"IO2 on P%u.%02u, IO3 on P%u.%02u",
		qspi_pattern_sck_hz(sck_div),
		QSPI_PIN_SCK >> 5, QSPI_PIN_SCK & 0x1FU,
		QSPI_PIN_IO2 >> 5, QSPI_PIN_IO2 & 0x1FU,
		QSPI_PIN_IO3 >> 5, QSPI_PIN_IO3 & 0x1FU);

	return 0;
}

int qspi_pattern_set_freq(nrf_qspi_frequency_t sck_div)
{
	nrfx_qspi_config_t cfg;
	int err;

	if (!initialised) {
		return -EPERM;
	}

	qspi_config_fill(&cfg, sck_div);

	/* reconfigure() deactivates the peripheral, so the pull-down has to be
	 * reapplied before the next activation for the same reason as at init.
	 */
	err = nrfx_qspi_reconfigure(&cfg);
	if (err != 0) {
		LOG_ERR("nrfx_qspi_reconfigure failed (%d)", err);
		return err;
	}

	qspi_idle_pulldown_apply();

	err = nrfx_qspi_activate(true);
	if (err != 0 && err != -EALREADY) {
		LOG_ERR("reactivation failed (%d)", err);
		return err;
	}

	LOG_INF("SCK now %u Hz", qspi_pattern_sck_hz(sck_div));

	return 0;
}

int qspi_pattern_burst(const void *data, size_t len)
{
	if (!initialised) {
		return -EPERM;
	}

	if (len == 0U || len > sizeof(pattern_buf)) {
		return -EINVAL;
	}

	memcpy(pattern_buf, data, len);

	/*
	 * One call produces two CSN frames on the wire, not one: the QSPI
	 * peripheral automatically prepends a WREN (0x06) before every page
	 * program. The pattern frame itself is
	 *
	 *   CSN low | 0x38 on IO0 (8 clocks) | 24-bit address (6 clocks, quad)
	 *           | len*2 payload nibbles  | CSN high
	 *
	 * so on a scope the payload starts 14 SCK clocks after CSN falls on the
	 * second frame. The destination address is meaningless here (nothing is
	 * listening) and is left at 0.
	 */
	return nrfx_qspi_write(pattern_buf, len, 0);
}

int qspi_pattern_fill_burst(uint8_t byte, size_t len)
{
	if (!initialised) {
		return -EPERM;
	}

	if (len == 0U || len > sizeof(pattern_buf)) {
		return -EINVAL;
	}

	// fills the ram buffer
	memset(pattern_buf, byte, len);

	// write these 256 bytes to flash address 0 and the CPU waits while the hardware the rest
	// by DMA (remember it is not actually writing to Flash)
	return nrfx_qspi_write(pattern_buf, len, 0);
}

int qspi_pattern_square(size_t len)
{
	/*
	 * In quad mode each byte is two nibbles, MSB nibble first, and each
	 * nibble drives IO3..IO0 for one SCK clock. 0xF0 therefore drives all
	 * four lines high for one clock and low for the next: a square wave at
	 * SCK/2 on every IO line simultaneously, 16 MHz with SCK at 32 MHz.
	 */
	return qspi_pattern_fill_burst(0xF0, len);
}

void qspi_pattern_stop(void)
{
	if (!initialised) {
		return;
	}

	nrfx_qspi_uninit();
	initialised = false;
}
```
